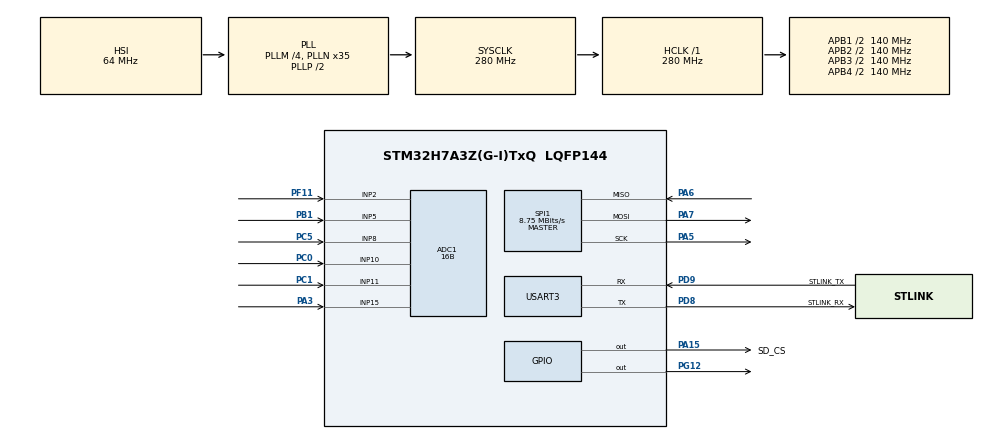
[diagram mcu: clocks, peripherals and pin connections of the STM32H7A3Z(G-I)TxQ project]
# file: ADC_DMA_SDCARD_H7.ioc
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ADC1.Channel-0\#ChannelRegularConversion=ADC_CHANNEL_15
ADC1.Channel-1\#ChannelRegularConversion=ADC_CHANNEL_10
ADC1.Channel-2\#ChannelRegularConversion=ADC_CHANNEL_5
ADC1.ClockPrescaler=ADC_CLOCK_ASYNC_DIV1
ADC1.ContinuousConvMode=DISABLE
ADC1.ConversionDataManagement=ADC_CONVERSIONDATA_DMA_CIRCULAR
ADC1.DiscontinuousConvMode=DISABLE
ADC1.EOCSelection=ADC_EOC_SEQ_CONV
ADC1.ExternalTrigConv=ADC_EXTERNALTRIG_T3_TRGO
ADC1.LeftBitShift=ADC_LEFTBITSHIFT_NONE
ADC1.NbrOfConversion=3
ADC1.NbrOfConversionFlag=1
ADC1.OffsetNumber-0\#ChannelRegularConversion=ADC_OFFSET_NONE
ADC1.OffsetNumber-1\#ChannelRegularConversion=ADC_OFFSET_NONE
ADC1.OffsetNumber-2\#ChannelRegularConversion=ADC_OFFSET_NONE
ADC1.OffsetSignedSaturation-0\#ChannelRegularConversion=DISABLE
ADC1.OffsetSignedSaturation-1\#ChannelRegularConversion=DISABLE
ADC1.OffsetSignedSaturation-2\#ChannelRegularConversion=DISABLE
ADC1.Overrun=ADC_OVR_DATA_PRESERVED
ADC1.OversamplingMode=DISABLE
ADC1.Rank-0\#ChannelRegularConversion=1
ADC1.Rank-1\#ChannelRegularConversion=2
ADC1.Rank-2\#ChannelRegularConversion=3
ADC1.Resolution=ADC_RESOLUTION_16B
ADC1.SamplingTime-0\#ChannelRegularConversion=ADC_SAMPLETIME_32CYCLES_5
ADC1.SamplingTime-1\#ChannelRegularConversion=ADC_SAMPLETIME_32CYCLES_5
ADC1.SamplingTime-2\#ChannelRegularConversion=ADC_SAMPLETIME_16CYCLES_5
ADC1.master=1
CORTEX_M7.AccessPermission-Cortex_Memory_Protection_Unit_Region0_Settings=MPU_REGION_FULL_ACCESS
CORTEX_M7.BaseAddress-Cortex_Memory_Protection_Unit_Region0_Settings=0x38000000
CORTEX_M7.CPU_DCache=Enabled
CORTEX_M7.CPU_ICache=Enabled
CORTEX_M7.DisableExec-Cortex_Memory_Protection_Unit_Region0_Settings=MPU_INSTRUCTION_ACCESS_DISABLE
CORTEX_M7.Enable-Cortex_Memory_Protection_Unit_Region0_Settings=MPU_REGION_ENABLE
CORTEX_M7.MPU_Control=MPU_PRIVILEGED_DEFAULT
CORTEX_M7.Size-Cortex_Memory_Protection_Unit_Region0_Settings=MPU_REGION_SIZE_32KB
Dma.ADC1.0.Direction=DMA_PERIPH_TO_MEMORY
Dma.ADC1.0.EventEnable=DISABLE
Dma.ADC1.0.FIFOMode=DMA_FIFOMODE_DISABLE
Dma.ADC1.0.Instance=DMA1_Stream0
Dma.ADC1.0.MemDataAlignment=DMA_MDATAALIGN_WORD
Dma.ADC1.0.MemInc=DMA_MINC_ENABLE
Dma.ADC1.0.Mode=DMA_CIRCULAR
Dma.ADC1.0.PeriphDataAlignment=DMA_PDATAALIGN_WORD
Dma.ADC1.0.PeriphInc=DMA_PINC_DISABLE
Dma.ADC1.0.Polarity=HAL_DMAMUX_REQ_GEN_RISING
Dma.ADC1.0.Priority=DMA_PRIORITY_HIGH
Dma.ADC1.0.RequestNumber=1
Dma.ADC1.0.SignalID=NONE
Dma.ADC1.0.SyncEnable=DISABLE
Dma.ADC1.0.SyncPolarity=HAL_DMAMUX_SYNC_NO_EVENT
Dma.ADC1.0.SyncRequestNumber=1
Dma.ADC1.0.SyncSignalID=NONE
Dma.Request0=ADC1
FATFS._FS_LOCK=8
FATFS._MAX_SS=4096
FATFS._USE_LFN=1
Mcu.Family=STM32H7
Mcu.Name=STM32H7A3Z(G-I)TxQ
Mcu.Package=LQFP144
NVIC.ADC_IRQn=true\:0\:0\:false\:false\:true\:true\:true\:true
NVIC.DMA1_Stream0_IRQn=true\:0\:0\:false\:false\:true\:false\:true\:true
NVIC.PriorityGroup=NVIC_PRIORITYGROUP_4
PA13.Mode=Serial_Wire
PA13.Signal=DEBUG_JTMS-SWDIO
PA14.Mode=Serial_Wire
PA14.Signal=DEBUG_JTCK-SWCLK
PA15.GPIO_Label=SD_CS
PA15.GPIO_Speed=GPIO_SPEED_FREQ_MEDIUM
PA15.PinState=GPIO_PIN_SET
PA15.Signal=GPIO_Output
PA3.Mode=IN15-Single-Ended
PA3.Signal=ADC1_INP15
PA5.Mode=Full_Duplex_Master
PA5.Signal=SPI1_SCK
PA6.Mode=Full_Duplex_Master
PA6.Signal=SPI1_MISO
PA7.Mode=Full_Duplex_Master
PA7.Signal=SPI1_MOSI
PB1.Signal=ADCx_INP5
PC0.Signal=ADCx_INP10
PC1.Signal=ADCx_INP11
PC14-OSC32_IN.GPIO_Label=OSC32_IN
PC14-OSC32_IN.Signal=RCC_OSC32_IN
PC15-OSC32_OUT.GPIO_Label=OSC32_OUT
PC15-OSC32_OUT.Signal=RCC_OSC32_OUT
PC5.Signal=ADCx_INP8
PD8.GPIO_Label=STLINK_RX
PD8.Mode=Asynchronous
PD8.Signal=USART3_TX
PD9.GPIO_Label=STLINK_TX
PD9.Mode=Asynchronous
PD9.Signal=USART3_RX
PF11.Mode=IN2-Single-Ended
PF11.Signal=ADC1_INP2
PG12.Signal=GPIO_Output
PH0-OSC_IN.GPIO_Label=PH0-MCU
PH0-OSC_IN.Mode=HSE-External-Oscillator
PH0-OSC_IN.Signal=RCC_OSC_IN
PH1-OSC_OUT.GPIO_Label=PH1-MCU
PH1-OSC_OUT.Mode=HSE-External-Oscillator
PH1-OSC_OUT.Signal=RCC_OSC_OUT
ProjectManager.HeapSize=0x200
ProjectManager.StackSize=0x400
ProjectManager.TargetToolchain=STM32CubeIDE
RCC.ADCFreq_Value=42666666.666666664
RCC.APB1Freq_Value=140000000
RCC.APB2Freq_Value=140000000
RCC.APB3Freq_Value=140000000
RCC.APB4Freq_Value=140000000
RCC.CDPPRE=RCC_APB3_DIV2
RCC.CDPPRE1=RCC_APB1_DIV2
RCC.CDPPRE2=RCC_APB2_DIV2
RCC.CortexFreq_Value=280000000
RCC.DIVM1=4
RCC.DIVM2=4
RCC.DIVM3=1
RCC.DIVN1=35
RCC.DIVN2=8
RCC.DIVN3=24
RCC.DIVP2=3
RCC.HCLKFreq_Value=280000000
RCC.HSE_VALUE=8000000
RCC.PLL2FRACN=0
RCC.PLL3FRACN=0
RCC.PLLFRACN=0
RCC.SRDPPRE=RCC_APB4_DIV2
RCC.SYSCLKFreq_VALUE=280000000
RCC.SYSCLKSource=RCC_SYSCLKSOURCE_PLLCLK
RCC.SupplySource=PWR_DIRECT_SMPS_SUPPLY
RCC.USBCLockSelection=RCC_USBCLKSOURCE_HSI48
RCC.USBFreq_Value=48000000
SH.ADCx_INP10.0=ADC1_INP10,IN10-Single-Ended
SH.ADCx_INP11.0=ADC1_INP11,IN11-Single-Ended
SH.ADCx_INP5.0=ADC1_INP5,IN5-Single-Ended
SH.ADCx_INP8.0=ADC1_INP8,IN8-Single-Ended
SPI1.BaudRatePrescaler=SPI_BAUDRATEPRESCALER_32
SPI1.CalculateBaudRate=8.75 MBits/s
SPI1.DataSize=SPI_DATASIZE_8BIT
SPI1.Direction=SPI_DIRECTION_2LINES
SPI1.Mode=SPI_MODE_MASTER
SPI1.NSSPMode=SPI_NSS_PULSE_ENABLE
SPI1.VirtualType=VM_MASTER
TIM3.Period=1000-1
TIM3.Prescaler=280-1
TIM3.TIM_MasterOutputTrigger=TIM_TRGO_UPDATE
USART3.VirtualMode-Asynchronous=VM_ASYNC
VP_FATFS_VS_Generic.Mode=User_defined
VP_MEMORYMAP_VS_MEMORYMAP.Mode=CurAppReg
VP_TIM3_VS_ClockSourceINT.Mode=Internal
board=NUCLEO-H7A3ZI-Q

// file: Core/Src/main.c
/* USER CODE BEGIN Header */
/**
  ******************************************************************************
  * @file           : main.c
  * @brief          : Main program body
  ******************************************************************************
  * @attention
  *
  * Copyright (c) 2024 STMicroelectronics.
  * All rights reserved.
  *
  * This software is licensed under terms that can be found in the LICENSE file
  * in the root directory of this software component.
  * If no LICENSE file comes with this software, it is provided AS-IS.
  *
  ******************************************************************************
  */
/* USER CODE END Header */
#include "main.h"
#include "fatfs.h"

/* USER CODE BEGIN Includes */
#include "fatfs_sd.h"
#include "string.h"
#include <stdio.h>
#include <stdarg.h>
#define ARM_MATH_CM7
#include "arm_math.h"
/* USER CODE END Includes */

/* USER CODE BEGIN PD */
#define SampleSize 24576
#define BufferSize 4096
/* USER CODE END PD */

ADC_HandleTypeDef hadc1;
DMA_HandleTypeDef hdma_adc1;

SPI_HandleTypeDef hspi1;

TIM_HandleTypeDef htim3;

UART_HandleTypeDef huart3;

/* USER CODE BEGIN PV */
#define ADC_VAL_SIZE 384
uint32_t adcVal[ADC_VAL_SIZE] __attribute__ ((section(".nocache")));;
uint32_t adcFlush[ADC_VAL_SIZE];
double buffer[BufferSize];
unsigned long count=0;

FATFS fs;
FATFS *pfs;
FIL fil1,fil2,fil3,fil4,fil5,fil6,rawDataFile;
FRESULT fresult;

int bufferIndex = 0;
volatile char read_flag=0;
volatile char dist_flag=0;

int fftbufferIndex = 0;
#define FFT_BUFFER_SIZE 4096
#define SAMPLING_RATE 1002.13
arm_rfft_fast_instance_f32 fftHandler;
float32_t fftBuffIn[FFT_BUFFER_SIZE];
float32_t fftBuffOut[FFT_BUFFER_SIZE];
float32_t outputfft_mag_xAxis_s1[FFT_BUFFER_SIZE/2];
float32_t outputfft_mag_yAxis_s1[FFT_BUFFER_SIZE/2];
float32_t outputfft_mag_zAxis_s1[FFT_BUFFER_SIZE/2];
float32_t outputfft_mag_xAxis_s2[FFT_BUFFER_SIZE/2];
float32_t outputfft_mag_yAxis_s2[FFT_BUFFER_SIZE/2];
float32_t outputfft_mag_zAxis_s2[FFT_BUFFER_SIZE/2];
float32_t outputfft_mag_R_s1[FFT_BUFFER_SIZE/2];
float32_t outputfft_mag_R_s2[FFT_BUFFER_SIZE/2];
uint8_t fftFlag=0;

/* USER CODE END PV */

void SystemClock_Config(void);
static void MPU_Config(void);
static void MX_GPIO_Init(void);
static void MX_DMA_Init(void);
static void MX_ADC1_Init(void);
static void MX_SPI1_Init(void);
static void MX_USART3_UART_Init(void);
static void MX_TIM3_Init(void);

/* USER CODE BEGIN 0 */
void unlinkFile(const char *fileName) {
 FRESULT  fresult = f_unlink(fileName);
    if (fresult != FR_OK) {
    	send_uart("%s not found\r\n", fileName);
    }
}

double calculateAverage(const double *values, int size) {
    if (size <= 0) {
        return 0.0;  // Return 0 for an empty array or invalid size
    }
    double sum = 0.0;
    for (int i = 0; i < size; i++) {
        sum += values[i];
    }
    return sum / size;
}

void send_uart(const char *format, ...) {
    va_list args;
    va_start(args, format);
    char buffer[1024];
    int len = vsnprintf(buffer, sizeof(buffer), format, args);
    if (len >= 0) {
       HAL_UART_Transmit(&huart3, (uint8_t*)buffer, len, 200);
    }
    va_end(args);
}

void writeToFile(FIL* file, uint32_t* buffer, int size) {
    char fileBuffer[1024];
    char intBuffer[7];
    int counter = 0;
    char* fbPtr = &fileBuffer[0];
    memset(fileBuffer, 0, 1024);
    memset(intBuffer, 0, 7);

    for (int i = 0; i < size; i ++) {
        int c = snprintf(intBuffer, sizeof(intBuffer), "%d\n", (int)buffer[i]);
        if (counter + c > 1024) {
            f_puts(fileBuffer, file);
            counter = 0;
            memset(fileBuffer, 0, 1024);
        }
        memcpy(&fileBuffer[counter], intBuffer, c);
        counter += c;
        fbPtr += c;
    }
    if (counter > 0) {
        f_puts(fileBuffer, file);

 }
}
void distributeDataToFiles(FIL* rawDataFile, FIL* file1, FIL* file2, FIL* file3) {
    FIL* files[3] = {file1, file2, file3};
    char fileBuffers[3][1024];
    int counters[3] = {0, 0, 0};
    char intBuffer[7];

    for (int i = 0; i < 3; i++) {
        memset(fileBuffers[i], 0, 1024);
    }

    char line[12];
    int fileIndex = 0;

    while (f_gets(line, sizeof(line), rawDataFile)) {
        int c = snprintf(intBuffer, sizeof(intBuffer), "%s", line);
        if (counters[fileIndex] + c > 1024) {
            f_puts(fileBuffers[fileIndex], files[fileIndex]);
            counters[fileIndex] = 0;
            memset(fileBuffers[fileIndex], 0, 1024);
        }
        memcpy(&fileBuffers[fileIndex][counters[fileIndex]], intBuffer, c);
        counters[fileIndex] += c;

        fileIndex = (fileIndex + 1) % 3;
    }

    for (int i = 0; i < 3; i++) {
        if (counters[i] > 0) {
            f_puts(fileBuffers[i], files[i]);
        }
    }
}
void HAL_ADC_ConvCpltCallback(ADC_HandleTypeDef* hadc)
 {
	read_flag = 1;
	memcpy(adcFlush,adcVal,ADC_VAL_SIZE*sizeof(uint32_t));
	//HAL_GPIO_TogglePin(GPIOG, GPIO_PIN_12);
 }
void processAndSaveData(const char *inputFileName, const char *outputFileName, double *buffer, int bufferSize, double *totalAverage) {
    FRESULT fresult;
    FIL inputFile, outputFile;
    char line[20];
    int bufferIndex = 0;
    int iterationCount = 0;

    fresult = f_open(&inputFile, inputFileName, FA_READ);
    if (fresult != FR_OK) {
        send_uart("Error opening input file for reading.\r\n");
        return;
    }

    fresult = f_open(&outputFile, outputFileName, FA_OPEN_ALWAYS | FA_WRITE);
    if (fresult != FR_OK) {
        send_uart("Error opening output file for writing.\r\n");
        f_close(&inputFile);
        return;
    }

    while (f_gets(line, sizeof(line), &inputFile) != NULL) {
        double currentSample;
        if (sscanf(line, "%lf", &currentSample) == 1) {
            buffer[bufferIndex] = currentSample;
            bufferIndex++;

            if (bufferIndex == bufferSize) {
                *totalAverage += calculateAverage(buffer, bufferSize);
                bufferIndex = 0;
                iterationCount=iterationCount+1;
            }
        }
    }

    *totalAverage /= iterationCount;

    f_lseek(&inputFile, 0);

    while (f_gets(line, sizeof(line), &inputFile) != NULL) {
        double value;
        if (sscanf(line, "%lf", &value) == 1) {
            double diff = value - *totalAverage;
            snprintf(buffer, bufferSize, "%.2f\n", diff);
            f_puts(buffer, &outputFile);
        }
    }

    f_close(&inputFile);
    f_close(&outputFile);
}

void generate_resultant(const char *data_file1, const char *data_file2, const char *data_file3, const char *add_file) {
    FIL fil1, fil2, fil3, add_fil;
    FRESULT fresult;

    // Open the first data file for reading
    fresult = f_open(&fil1, data_file1, FA_OPEN_ALWAYS | FA_READ);
    if (fresult != FR_OK) {
        send_uart("Error opening X-Axis.\r\n");
        return;
    }

    // Open the second data file for reading
    fresult = f_open(&fil2, data_file2, FA_OPEN_ALWAYS | FA_READ);
    if (fresult != FR_OK) {
        send_uart("Error opening Y-Axis.\r\n");
        f_close(&fil1);
        return;
    }

    // Open the third data file for reading
    fresult = f_open(&fil3, data_file3, FA_OPEN_ALWAYS | FA_READ);
    if (fresult != FR_OK) {
        send_uart("Error opening Z-Axis.\r\n");
        f_close(&fil1);
        f_close(&fil2);
        return;
    }

    // Open the resultant file for writing
    fresult = f_open(&add_fil, add_file, FA_OPEN_ALWAYS | FA_WRITE);
    if (fresult != FR_OK) {
        send_uart("Error opening Resultant file for writing.\r\n");
        f_close(&fil1);
        f_close(&fil2);
        f_close(&fil3);
        return;
    }

    char line1[50], line2[50], line3[50];
    double mag1, mag2, mag3;

    while (f_gets(line1, sizeof(line1), &fil1) != NULL && f_gets(line2, sizeof(line2), &fil2) != NULL && f_gets(line3, sizeof(line3), &fil3) != NULL) {

        sscanf(line1, "%lf", &mag1);
        sscanf(line2, "%lf", &mag2);
        sscanf(line3, "%lf", &mag3);

        // Calculate and format sum of magnitudes
        double add_mag = sqrt(mag1*mag1 + mag2*mag2 + mag3*mag3);

        char add_mag_str[20]; // Adjust size as needed to accommodate formatted output
        snprintf(add_mag_str, sizeof(add_mag_str), "%.2f\n", (double)add_mag); // Convert double to string with formatting
        f_puts(add_mag_str, &add_fil);
        if (fresult != FR_OK) {
            send_uart("Error writing to resultant.txt.\r\n");
        }
    }

    // Close all files
    f_close(&fil1);
    f_close(&fil2);
    f_close(&fil3);
    f_close(&add_fil);
}

void fftResults(const char *data_file, const char *fft_file, float *outputfft_mag, float *fftBuffIn, float *fftBuffOut) {
    FIL fil1, fil2;
    FRESULT fresult;

    fresult = f_open(&fil1, data_file, FA_OPEN_ALWAYS | FA_READ);
    if (fresult != FR_OK) {
        send_uart("Error opening data file for reading.\r\n");
        return;
    }

    fresult = f_open(&fil2, fft_file, FA_OPEN_ALWAYS | FA_WRITE);
    if (fresult != FR_OK) {
        send_uart("Error opening FFT file for writing.\r\n");
        f_close(&fil1);
        return;
    }

    char line[20];
    int fftbufferIndex = 0;
    int dataCount = 0;

    while (f_gets(line, sizeof(line), &fil1) != NULL && dataCount < FFT_BUFFER_SIZE) {
        double currentfftSample;
        if (sscanf(line, "%lf", &currentfftSample) == 1) {
            fftBuffIn[fftbufferIndex] = currentfftSample;
            fftbufferIndex++;
            dataCount++;
            if (fftbufferIndex == FFT_BUFFER_SIZE) {
                arm_rfft_fast_f32(&fftHandler, fftBuffIn, fftBuffOut, 0);
                arm_cmplx_mag_f32(fftBuffOut, outputfft_mag, FFT_BUFFER_SIZE/2);

                char fftline[50];
                for (int i = 0; i < FFT_BUFFER_SIZE/2; i++) {
                    snprintf(fftline, sizeof(fftline), "frequency %.2f: %.2f\n", ((float32_t)(i*SAMPLING_RATE)/FFT_BUFFER_SIZE), outputfft_mag[i]);
                    f_puts(fftline, &fil2);
                }
                float peakVal = 0.0;
                int peakIndex = 0;
                for (int i = 0; i < FFT_BUFFER_SIZE/2; i++) {
                    float curVal = outputfft_mag[i];
                    if (curVal > peakVal) {
                        peakVal = curVal;
                        peakIndex = i;
                    }
                }
                float peakFrequency = (float32_t)(peakIndex * SAMPLING_RATE) / FFT_BUFFER_SIZE;
                send_uart("Peak Value: %.3f at Frequency: %.3f Hz\r\n", peakVal, peakFrequency);
                fftbufferIndex = 0;
            }
        }
    }

    // Close both files
    f_close(&fil1);
    f_close(&fil2);
}

void generate_frequency_difference(const char *fft_file1, const char *fft_file2, const char *diff_file) {
    FIL fil1, fil2, diff_fil;
    FRESULT fresult;

    // Open the first FFT file for reading
    fresult = f_open(&fil1, fft_file1, FA_OPEN_ALWAYS | FA_READ);
    if (fresult != FR_OK) {
        send_uart("Error opening first FFT file for reading.\r\n");
        return;
    }

    // Open the second FFT file for reading
    fresult = f_open(&fil2, fft_file2, FA_OPEN_ALWAYS | FA_READ);
    if (fresult != FR_OK) {
        send_uart("Error opening second FFT file for reading.\r\n");
        f_close(&fil1);
        return;
    }

    // Open the difference file for writing
    fresult = f_open(&diff_fil, diff_file, FA_OPEN_ALWAYS | FA_WRITE);
    if (fresult != FR_OK) {
        send_uart("Error opening difference file for writing.\r\n");
        f_close(&fil1);
        f_close(&fil2);
        return;
    }

    char line1[50], line2[50];
    float freq1, mag1, freq2, mag2;
    float max_diff_mag = 0;
    float max_diff_freq = 0;

    while (f_gets(line1, sizeof(line1), &fil1) != NULL && f_gets(line2, sizeof(line2), &fil2) != NULL) {
        // Parse frequency and magnitude from each file
        sscanf(line1, "frequency %f: %f", &freq1, &mag1);
        sscanf(line2, "frequency %f: %f", &freq2, &mag2);

        // Calculate the difference in magnitudes
        float diff_mag = mag2-mag1;

        // Write the difference along with the frequency to the difference file
        char diff_line[50];
        snprintf(diff_line, sizeof(diff_line), "frequency %.2f: %.2f\n", freq1, diff_mag);
        f_puts(diff_line, &diff_fil);

        // Update the maximum difference and corresponding frequency
        if (fabs(diff_mag) > max_diff_mag) {
            max_diff_mag = fabs(diff_mag);
            max_diff_freq = freq1;
        }
    }

    // Close all files
    f_close(&fil1);
    f_close(&fil2);
    f_close(&diff_fil);
    // Print the maximum difference magnitude and corresponding frequency
    char max_diff_message[100];
    snprintf(max_diff_message, sizeof(max_diff_message), "Max difference magnitude: %.2f at frequency: %.2f\r\n", max_diff_mag, max_diff_freq);
    send_uart(max_diff_message);
}
/* USER CODE END 0 */

int main(void)
{

  /* MPU Configuration--------------------------------------------------------*/
  MPU_Config();

  /* Enable the CPU Cache */

  /* Enable I-Cache---------------------------------------------------------*/
  SCB_EnableICache();

  /* Enable D-Cache---------------------------------------------------------*/
  SCB_EnableDCache();

  /* MCU Configuration--------------------------------------------------------*/

  /* Reset of all peripherals, Initializes the Flash interface and the Systick. */
  HAL_Init();

  /* Configure the system clock */
  SystemClock_Config();

  /* Initialize all configured peripherals */
  MX_GPIO_Init();
  MX_DMA_Init();
  MX_ADC1_Init();
  MX_SPI1_Init();
  MX_FATFS_Init();
  MX_USART3_UART_Init();
  MX_TIM3_Init();
  /* USER CODE BEGIN 2 */
HAL_ADCEx_Calibration_Start(&hadc1, ADC_CALIB_OFFSET ,ADC_SINGLE_ENDED);

HAL_ADC_Start_DMA(&hadc1, adcVal, ADC_VAL_SIZE);

HAL_TIM_Base_Start(&htim3);

arm_rfft_fast_init_f32(&fftHandler, FFT_BUFFER_SIZE);
fresult = f_mount(&fs, "", 0);
   	  if (fresult != FR_OK) {
   		  send_uart("SD card MOUNT FAILED...\r\n");
   	  } else {
   		  send_uart("\n\rSD card MOUNTED...\r\n");

   		  fresult = f_open(&rawDataFile, "rawData.txt", FA_OPEN_ALWAYS | FA_READ | FA_WRITE);
   		  send_uart("rawData.txt created.\r\n");

  /* USER CODE END 2 */

  /* Infinite loop */
  while (1)
  {

    /* USER CODE BEGIN 3 */
	  if (read_flag)
	  	 	  {
	  	 		  writeToFile(&rawDataFile, adcFlush, ADC_VAL_SIZE);
	  	 		  count+=ADC_VAL_SIZE;
	  	 		  read_flag = 0;
	  	 	  }
	  	 	  if (count >= SampleSize)
	  	 	  {
	  	 		  HAL_ADC_Stop_DMA(&hadc1);
	  	 		  HAL_TIM_Base_Stop(&htim3);
	  	 		  f_close(&rawDataFile);
	  	 		  send_uart("Data acquisition complete!\r\n");
	  	 		  dist_flag = 1;
	  	 		  if (dist_flag){
	  	 		  fresult = f_open(&rawDataFile, "rawData.txt",FA_READ);

	  	 		  fresult = f_open(&fil1, "xAxisS1.txt", FA_OPEN_ALWAYS | FA_READ | FA_WRITE);
	  	 		  send_uart("xAxis_sensor1.txt created.\r\n");

	  	 		  fresult = f_open(&fil2, "yAxisS1.txt", FA_OPEN_ALWAYS | FA_READ | FA_WRITE);
	  	   		  send_uart("yAxis_sensor1.txt created.\r\n");

	  	   		  fresult = f_open(&fil3, "zAxisS1.txt", FA_OPEN_ALWAYS | FA_READ | FA_WRITE);
	  	   		  send_uart("zAxis_sensor1.txt created.\r\n");

//	  	   		  fresult = f_open(&fil4, "xAxisS2.txt", FA_OPEN_ALWAYS | FA_READ | FA_WRITE);
//	  	  		  send_uart("xAxis_sensor2.txt created.\r\n");
//
//	  	   		  fresult = f_open(&fil5, "yAxisS2.txt", FA_OPEN_ALWAYS | FA_READ | FA_WRITE);
//	  	  		  send_uart("yAxis_sensor2.txt created.\r\n");
//
//	  	   		  fresult = f_open(&fil6, "zAxisS2.txt", FA_OPEN_ALWAYS | FA_READ | FA_WRITE);
//	  	  		  send_uart("zAxis_sensor2.txt created.\r\n");

	  	  		  distributeDataToFiles(&rawDataFile, &fil1, &fil2, &fil3);
	  	  		  f_close(&rawDataFile);
	  	  		  f_close(&fil1);
	  	  		  f_close(&fil2);
	  	  		  f_close(&fil3);
	  	 		  }
	  	 		  dist_flag=0;
	  	 		  generate_resultant("xAxisS1.txt", "yAxisS1.txt", "zAxisS1.txt", "ResultantS1.txt");

//	  	 		  generate_resultant("xAxisS2.txt", "yAxisS2.txt", "zAxisS2.txt", "ResultantS2.txt");

	  	 		  double totalAverage1 = 0.0;
	  	 		  processAndSaveData("xAxisS1.txt", "xAxisMWFS1.txt", buffer, BufferSize, &totalAverage1);
	  	 		  double totalAverage2 = 0.0;
	  	 		  processAndSaveData("yAxisS1.txt", "yAxisMWFS1.txt", buffer, BufferSize, &totalAverage2);
	  	 		  double totalAverage3 = 0.0;
	  	 		  processAndSaveData("zAxisS1.txt", "zAxisMWFS1.txt", buffer, BufferSize, &totalAverage3);
//	  	 		  double totalAverage4 = 0.0;
//	  	 		  processAndSaveData("xAxisS2.txt", "xAxisMWFS2.txt", buffer, BufferSize, &totalAverage4);
//	  	 		  double totalAverage5 = 0.0;
//	  	 		  processAndSaveData("yAxisS2.txt", "yAxisMWFS2.txt", buffer, BufferSize, &totalAverage5);
//	  	 		  double totalAverage6 = 0.0;
//	  	 		  processAndSaveData("zAxisS2.txt", "zAxisMWFS2.txt", buffer, BufferSize, &totalAverage6);
	  	 		  double totalAverage7 = 0.0;
	  	 		  processAndSaveData("ResultantS1.txt", "ResultantMWFS1.txt", buffer, BufferSize, &totalAverage7);
//	  	 		  double totalAverage8 = 0.0;
//	  	 		  processAndSaveData("ResultantS2.txt", "ResultantMWFS2.txt", buffer, BufferSize, &totalAverage8);

	  	 		  send_uart("Text database created!!\r\n");
	  	 		  fftFlag=1;

	  	 	  	  	  }
	  	 	  if(fftFlag)
	  	 			{
	  		   send_uart("Performing FFT on X_Axis!\r\n");
	  		   fftResults("xAxisMWFS1.txt", "xAxisFFTS1.txt", outputfft_mag_xAxis_s1, fftBuffIn, fftBuffOut);

	  		   send_uart("Performing FFT on Y_Axis!\r\n");
	  		   fftResults("yAxisMWFS1.txt", "yAxisFFTS1.txt", outputfft_mag_yAxis_s1, fftBuffIn, fftBuffOut);

	  		   send_uart("Performing FFT on Z_Axis!\r\n");
	  		   fftResults("zAxisMWFS1.txt", "zAxisFFTS1.txt", outputfft_mag_zAxis_s1, fftBuffIn, fftBuffOut);

	  		   send_uart("Performing FFT on Resultant!\r\n");
	  		   fftResults("ResultantMWFS1.txt", "ResultantFFTS1.txt", outputfft_mag_R_s1, fftBuffIn, fftBuffOut);

//	  		   send_uart("Performing FFT on sensor2_X_Axis!\r\n");
//	  		   fftResults("xAxisMWFS2.txt", "xAxisFFTS2.txt", outputfft_mag_xAxis_s2, fftBuffIn, fftBuffOut);
//
//	  		   send_uart("Performing FFT on sensor2_Y_Axis!\r\n");
//	  		   fftResults("yAxisMWFS2.txt", "yAxisFFTS2.txt", outputfft_mag_yAxis_s2, fftBuffIn, fftBuffOut);
//
//	  		   send_uart("Performing FFT on sensor2_Z_Axis!\r\n");
//	  		   fftResults("zAxisMWFS2.txt", "zAxisFFTS2.txt", outputfft_mag_zAxis_s2, fftBuffIn, fftBuffOut);
//
//	  		   send_uart("Performing FFT on sensor2_Resultant!\r\n");
//	  		   fftResults("ResultantMWFS2.txt", "ResultantFFTS2.txt", outputfft_mag_R_s2, fftBuffIn, fftBuffOut);

//	  		   generate_frequency_difference("ResultantFFTS1.txt", "ResultantFFTS2.txt", "Frequency_Difference.txt");
	  		   send_uart("Programme Complete!\r\n");
	  		   break;
	  	 	  }
  	  }
  }
  /* USER CODE END 3 */
}

void SystemClock_Config(void)
{
  RCC_OscInitTypeDef RCC_OscInitStruct = {0};
  RCC_ClkInitTypeDef RCC_ClkInitStruct = {0};

  /*AXI clock gating */
  RCC->CKGAENR = 0xFFFFFFFF;

  /** Supply configuration update enable
  */
  HAL_PWREx_ConfigSupply(PWR_DIRECT_SMPS_SUPPLY);

  /** Configure the main internal regulator output voltage
  */
  __HAL_PWR_VOLTAGESCALING_CONFIG(PWR_REGULATOR_VOLTAGE_SCALE0);

  while(!__HAL_PWR_GET_FLAG(PWR_FLAG_VOSRDY)) {}

  /** Initializes the RCC Oscillators according to the specified parameters
  * in the RCC_OscInitTypeDef structure.
  */
  RCC_OscInitStruct.OscillatorType = RCC_OSCILLATORTYPE_HSI;
  RCC_OscInitStruct.HSIState = RCC_HSI_DIV1;
  RCC_OscInitStruct.HSICalibrationValue = 64;
  RCC_OscInitStruct.PLL.PLLState = RCC_PLL_ON;
  RCC_OscInitStruct.PLL.PLLSource = RCC_PLLSOURCE_HSI;
  RCC_OscInitStruct.PLL.PLLM = 4;
  RCC_OscInitStruct.PLL.PLLN = 35;
  RCC_OscInitStruct.PLL.PLLP = 2;
  RCC_OscInitStruct.PLL.PLLQ = 2;
  RCC_OscInitStruct.PLL.PLLR = 2;
  RCC_OscInitStruct.PLL.PLLRGE = RCC_PLL1VCIRANGE_3;
  RCC_OscInitStruct.PLL.PLLVCOSEL = RCC_PLL1VCOWIDE;
  RCC_OscInitStruct.PLL.PLLFRACN = 0;
  if (HAL_RCC_OscConfig(&RCC_OscInitStruct) != HAL_OK)
  {
    Error_Handler();
  }

  /** Initializes the CPU, AHB and APB buses clocks
  */
  RCC_ClkInitStruct.ClockType = RCC_CLOCKTYPE_HCLK|RCC_CLOCKTYPE_SYSCLK
                              |RCC_CLOCKTYPE_PCLK1|RCC_CLOCKTYPE_PCLK2
                              |RCC_CLOCKTYPE_D3PCLK1|RCC_CLOCKTYPE_D1PCLK1;
  RCC_ClkInitStruct.SYSCLKSource = RCC_SYSCLKSOURCE_PLLCLK;
  RCC_ClkInitStruct.SYSCLKDivider = RCC_SYSCLK_DIV1;
  RCC_ClkInitStruct.AHBCLKDivider = RCC_HCLK_DIV1;
  RCC_ClkInitStruct.APB3CLKDivider = RCC_APB3_DIV2;
  RCC_ClkInitStruct.APB1CLKDivider = RCC_APB1_DIV2;
  RCC_ClkInitStruct.APB2CLKDivider = RCC_APB2_DIV2;
  RCC_ClkInitStruct.APB4CLKDivider = RCC_APB4_DIV2;

  if (HAL_RCC_ClockConfig(&RCC_ClkInitStruct, FLASH_LATENCY_6) != HAL_OK)
  {
    Error_Handler();
  }
}

static void MX_ADC1_Init(void)
{

  ADC_MultiModeTypeDef multimode = {0};
  ADC_ChannelConfTypeDef sConfig = {0};

  /** Common config
  */
  hadc1.Instance = ADC1;
  hadc1.Init.ClockPrescaler = ADC_CLOCK_ASYNC_DIV1;
  hadc1.Init.Resolution = ADC_RESOLUTION_16B;
  hadc1.Init.ScanConvMode = ADC_SCAN_ENABLE;
  hadc1.Init.EOCSelection = ADC_EOC_SEQ_CONV;
  hadc1.Init.LowPowerAutoWait = DISABLE;
  hadc1.Init.ContinuousConvMode = DISABLE;
  hadc1.Init.NbrOfConversion = 3;
  hadc1.Init.DiscontinuousConvMode = DISABLE;
  hadc1.Init.ExternalTrigConv = ADC_EXTERNALTRIG_T3_TRGO;
  hadc1.Init.ExternalTrigConvEdge = ADC_EXTERNALTRIGCONVEDGE_RISING;
  hadc1.Init.ConversionDataManagement = ADC_CONVERSIONDATA_DMA_CIRCULAR;
  hadc1.Init.Overrun = ADC_OVR_DATA_PRESERVED;
  hadc1.Init.LeftBitShift = ADC_LEFTBITSHIFT_NONE;
  hadc1.Init.OversamplingMode = DISABLE;
  if (HAL_ADC_Init(&hadc1) != HAL_OK)
  {
    Error_Handler();
  }

  /** Configure the ADC multi-mode
  */
  multimode.Mode = ADC_MODE_INDEPENDENT;
  if (HAL_ADCEx_MultiModeConfigChannel(&hadc1, &multimode) != HAL_OK)
  {
    Error_Handler();
  }

  /** Configure Regular Channel
  */
  sConfig.Channel = ADC_CHANNEL_15;
  sConfig.Rank = ADC_REGULAR_RANK_1;
  sConfig.SamplingTime = ADC_SAMPLETIME_32CYCLES_5;
  sConfig.SingleDiff = ADC_SINGLE_ENDED;
  sConfig.OffsetNumber = ADC_OFFSET_NONE;
  sConfig.Offset = 0;
  sConfig.OffsetSignedSaturation = DISABLE;
  if (HAL_ADC_ConfigChannel(&hadc1, &sConfig) != HAL_OK)
  {
    Error_Handler();
  }

  /** Configure Regular Channel
  */
  sConfig.Channel = ADC_CHANNEL_10;
  sConfig.Rank = ADC_REGULAR_RANK_2;
  if (HAL_ADC_ConfigChannel(&hadc1, &sConfig) != HAL_OK)
  {
    Error_Handler();
  }

  /** Configure Regular Channel
  */
  sConfig.Channel = ADC_CHANNEL_5;
  sConfig.Rank = ADC_REGULAR_RANK_3;
  sConfig.SamplingTime = ADC_SAMPLETIME_16CYCLES_5;
  if (HAL_ADC_ConfigChannel(&hadc1, &sConfig) != HAL_OK)
  {
    Error_Handler();
  }

}

static void MX_SPI1_Init(void)
{

  /* SPI1 parameter configuration*/
  hspi1.Instance = SPI1;
  hspi1.Init.Mode = SPI_MODE_MASTER;
  hspi1.Init.Direction = SPI_DIRECTION_2LINES;
  hspi1.Init.DataSize = SPI_DATASIZE_8BIT;
  hspi1.Init.CLKPolarity = SPI_POLARITY_LOW;
  hspi1.Init.CLKPhase = SPI_PHASE_1EDGE;
  hspi1.Init.NSS = SPI_NSS_SOFT;
  hspi1.Init.BaudRatePrescaler = SPI_BAUDRATEPRESCALER_32;
  hspi1.Init.FirstBit = SPI_FIRSTBIT_MSB;
  hspi1.Init.TIMode = SPI_TIMODE_DISABLE;
  hspi1.Init.CRCCalculation = SPI_CRCCALCULATION_DISABLE;
  hspi1.Init.CRCPolynomial = 0x0;
  hspi1.Init.NSSPMode = SPI_NSS_PULSE_ENABLE;
  hspi1.Init.NSSPolarity = SPI_NSS_POLARITY_LOW;
  hspi1.Init.FifoThreshold = SPI_FIFO_THRESHOLD_01DATA;
  hspi1.Init.TxCRCInitializationPattern = SPI_CRC_INITIALIZATION_ALL_ZERO_PATTERN;
  hspi1.Init.RxCRCInitializationPattern = SPI_CRC_INITIALIZATION_ALL_ZERO_PATTERN;
  hspi1.Init.MasterSSIdleness = SPI_MASTER_SS_IDLENESS_00CYCLE;
  hspi1.Init.MasterInterDataIdleness = SPI_MASTER_INTERDATA_IDLENESS_00CYCLE;
  hspi1.Init.MasterReceiverAutoSusp = SPI_MASTER_RX_AUTOSUSP_DISABLE;
  hspi1.Init.MasterKeepIOState = SPI_MASTER_KEEP_IO_STATE_DISABLE;
  hspi1.Init.IOSwap = SPI_IO_SWAP_DISABLE;
  if (HAL_SPI_Init(&hspi1) != HAL_OK)
  {
    Error_Handler();
  }

}

static void MX_TIM3_Init(void)
{

  TIM_ClockConfigTypeDef sClockSourceConfig = {0};
  TIM_MasterConfigTypeDef sMasterConfig = {0};

  htim3.Instance = TIM3;
  htim3.Init.Prescaler = 280-1;
  htim3.Init.CounterMode = TIM_COUNTERMODE_UP;
  htim3.Init.Period = 1000-1;
  htim3.Init.ClockDivision = TIM_CLOCKDIVISION_DIV1;
  htim3.Init.AutoReloadPreload = TIM_AUTORELOAD_PRELOAD_DISABLE;
  if (HAL_TIM_Base_Init(&htim3) != HAL_OK)
  {
    Error_Handler();
  }
  sClockSourceConfig.ClockSource = TIM_CLOCKSOURCE_INTERNAL;
  if (HAL_TIM_ConfigClockSource(&htim3, &sClockSourceConfig) != HAL_OK)
  {
    Error_Handler();
  }
  sMasterConfig.MasterOutputTrigger = TIM_TRGO_UPDATE;
  sMasterConfig.MasterSlaveMode = TIM_MASTERSLAVEMODE_DISABLE;
  if (HAL_TIMEx_MasterConfigSynchronization(&htim3, &sMasterConfig) != HAL_OK)
  {
    Error_Handler();
  }

}

static void MX_USART3_UART_Init(void)
{

  huart3.Instance = USART3;
  huart3.Init.BaudRate = 115200;
  huart3.Init.WordLength = UART_WORDLENGTH_8B;
  huart3.Init.StopBits = UART_STOPBITS_1;
  huart3.Init.Parity = UART_PARITY_NONE;
  huart3.Init.Mode = UART_MODE_TX_RX;
  huart3.Init.HwFlowCtl = UART_HWCONTROL_NONE;
  huart3.Init.OverSampling = UART_OVERSAMPLING_16;
  huart3.Init.OneBitSampling = UART_ONE_BIT_SAMPLE_DISABLE;
  huart3.Init.ClockPrescaler = UART_PRESCALER_DIV1;
  huart3.AdvancedInit.AdvFeatureInit = UART_ADVFEATURE_NO_INIT;
  if (HAL_UART_Init(&huart3) != HAL_OK)
  {
    Error_Handler();
  }
  if (HAL_UARTEx_SetTxFifoThreshold(&huart3, UART_TXFIFO_THRESHOLD_1_8) != HAL_OK)
  {
    Error_Handler();
  }
  if (HAL_UARTEx_SetRxFifoThreshold(&huart3, UART_RXFIFO_THRESHOLD_1_8) != HAL_OK)
  {
    Error_Handler();
  }
  if (HAL_UARTEx_DisableFifoMode(&huart3) != HAL_OK)
  {
    Error_Handler();
  }

}

static void MX_DMA_Init(void)
{

  /* DMA controller clock enable */
  __HAL_RCC_DMA1_CLK_ENABLE();

  /* DMA interrupt init */
  /* DMA1_Stream0_IRQn interrupt configuration */
  HAL_NVIC_SetPriority(DMA1_Stream0_IRQn, 0, 0);
  HAL_NVIC_EnableIRQ(DMA1_Stream0_IRQn);

}

static void MX_GPIO_Init(void)
{
  GPIO_InitTypeDef GPIO_InitStruct = {0};

  /* GPIO Ports Clock Enable */
  __HAL_RCC_GPIOC_CLK_ENABLE();
  __HAL_RCC_GPIOH_CLK_ENABLE();
  __HAL_RCC_GPIOA_CLK_ENABLE();
  __HAL_RCC_GPIOB_CLK_ENABLE();
  __HAL_RCC_GPIOF_CLK_ENABLE();
  __HAL_RCC_GPIOD_CLK_ENABLE();
  __HAL_RCC_GPIOG_CLK_ENABLE();

  /*Configure GPIO pin Output Level */
  HAL_GPIO_WritePin(SD_CS_GPIO_Port, SD_CS_Pin, GPIO_PIN_SET);

  /*Configure GPIO pin Output Level */
  HAL_GPIO_WritePin(GPIOG, GPIO_PIN_12, GPIO_PIN_RESET);

  /*Configure GPIO pin : SD_CS_Pin */
  GPIO_InitStruct.Pin = SD_CS_Pin;
  GPIO_InitStruct.Mode = GPIO_MODE_OUTPUT_PP;
  GPIO_InitStruct.Pull = GPIO_NOPULL;
  GPIO_InitStruct.Speed = GPIO_SPEED_FREQ_MEDIUM;
  HAL_GPIO_Init(SD_CS_GPIO_Port, &GPIO_InitStruct);

  /*Configure GPIO pin : PG12 */
  GPIO_InitStruct.Pin = GPIO_PIN_12;
  GPIO_InitStruct.Mode = GPIO_MODE_OUTPUT_PP;
  GPIO_InitStruct.Pull = GPIO_NOPULL;
  GPIO_InitStruct.Speed = GPIO_SPEED_FREQ_LOW;
  HAL_GPIO_Init(GPIOG, &GPIO_InitStruct);

}

 /* MPU Configuration */

void MPU_Config(void)
{
  MPU_Region_InitTypeDef MPU_InitStruct = {0};

  /* Disables the MPU */
  HAL_MPU_Disable();

  /** Initializes and configures the Region and the memory to be protected
  */
  MPU_InitStruct.Enable = MPU_REGION_ENABLE;
  MPU_InitStruct.Number = MPU_REGION_NUMBER0;
  MPU_InitStruct.BaseAddress = 0x38000000;
  MPU_InitStruct.Size = MPU_REGION_SIZE_32KB;
  MPU_InitStruct.SubRegionDisable = 0x0;
  MPU_InitStruct.TypeExtField = MPU_TEX_LEVEL0;
  MPU_InitStruct.AccessPermission = MPU_REGION_FULL_ACCESS;
  MPU_InitStruct.DisableExec = MPU_INSTRUCTION_ACCESS_DISABLE;
  MPU_InitStruct.IsShareable = MPU_ACCESS_NOT_SHAREABLE;
  MPU_InitStruct.IsCacheable = MPU_ACCESS_NOT_CACHEABLE;
  MPU_InitStruct.IsBufferable = MPU_ACCESS_NOT_BUFFERABLE;

  HAL_MPU_ConfigRegion(&MPU_InitStruct);
  /* Enables the MPU */
  HAL_MPU_Enable(MPU_PRIVILEGED_DEFAULT);

}

void Error_Handler(void)
{
  __disable_irq();
  while (1)
  {
  }
}
